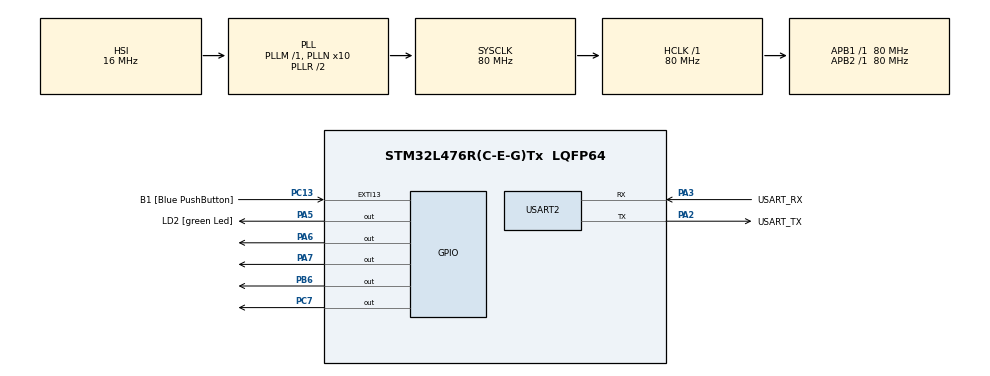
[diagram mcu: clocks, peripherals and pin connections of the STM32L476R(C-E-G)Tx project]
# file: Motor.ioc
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Mcu.Family=STM32L4
Mcu.Name=STM32L476R(C-E-G)Tx
Mcu.Package=LQFP64
NVIC.PriorityGroup=NVIC_PRIORITYGROUP_4
PA13\ (JTMS-SWDIO).GPIO_Label=TMS
PA13\ (JTMS-SWDIO).Mode=Serial_Wire
PA13\ (JTMS-SWDIO).Signal=SYS_JTMS-SWDIO
PA14\ (JTCK-SWCLK).GPIO_Label=TCK
PA14\ (JTCK-SWCLK).Mode=Serial_Wire
PA14\ (JTCK-SWCLK).Signal=SYS_JTCK-SWCLK
PA2.GPIO_Label=USART_TX
PA2.GPIO_Mode=GPIO_MODE_AF_PP
PA2.GPIO_PuPd=GPIO_NOPULL
PA2.GPIO_Speed=GPIO_SPEED_FREQ_VERY_HIGH
PA2.Mode=Asynchronous
PA2.Signal=USART2_TX
PA3.GPIO_Label=USART_RX
PA3.GPIO_Mode=GPIO_MODE_AF_PP
PA3.GPIO_PuPd=GPIO_NOPULL
PA3.GPIO_Speed=GPIO_SPEED_FREQ_VERY_HIGH
PA3.Mode=Asynchronous
PA3.Signal=USART2_RX
PA5.GPIO_Label=LD2 [green Led]
PA5.GPIO_ModeDefaultOutputPP=GPIO_MODE_OUTPUT_PP
PA5.GPIO_PuPd=GPIO_NOPULL
PA5.GPIO_Speed=GPIO_SPEED_FREQ_LOW
PA5.Signal=GPIO_Output
PA6.Signal=GPIO_Output
PA7.Signal=GPIO_Output
PB3\ (JTDO-TRACESWO).GPIO_Label=SWO
PB3\ (JTDO-TRACESWO).Signal=SYS_JTDO-SWO
PB6.Signal=GPIO_Output
PC13.GPIO_Label=B1 [Blue PushButton]
PC13.GPIO_ModeDefaultEXTI=GPIO_MODE_IT_FALLING
PC13.GPIO_PuPd=GPIO_NOPULL
PC13.Signal=GPXTI13
PC14-OSC32_IN\ (PC14).Mode=LSE-External-Oscillator
PC14-OSC32_IN\ (PC14).Signal=RCC_OSC32_IN
PC15-OSC32_OUT\ (PC15).Mode=LSE-External-Oscillator
PC15-OSC32_OUT\ (PC15).Signal=RCC_OSC32_OUT
PC7.Signal=GPIO_Output
PH0-OSC_IN\ (PH0).Signal=RCC_OSC_IN
PH1-OSC_OUT\ (PH1).Signal=RCC_OSC_OUT
ProjectManager.HeapSize=0x200
ProjectManager.StackSize=0x400
ProjectManager.TargetToolchain=STM32CubeIDE
RCC.ADCFreq_Value=64000000
RCC.AHBFreq_Value=80000000
RCC.APB1Freq_Value=80000000
RCC.APB1TimFreq_Value=80000000
RCC.APB2Freq_Value=80000000
RCC.APB2TimFreq_Value=80000000
RCC.CortexFreq_Value=80000000
RCC.HCLKFreq_Value=80000000
RCC.HSE_VALUE=8000000
RCC.HSI_VALUE=16000000
RCC.MSI_VALUE=4000000
RCC.PLLN=10
RCC.PLLSourceVirtual=RCC_PLLSOURCE_HSI
RCC.PREFETCH_ENABLE=1
RCC.SYSCLKFreq_VALUE=80000000
RCC.SYSCLKSource=RCC_SYSCLKSOURCE_PLLCLK
RCC.USBFreq_Value=64000000
RCC.VCOOutputFreq_Value=160000000
USART2.VirtualMode-Asynchronous=VM_ASYNC
board=NUCLEO-L476RG

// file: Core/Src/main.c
/* USER CODE BEGIN Header */
/**
  ******************************************************************************
  * @file           : main.c
  * @brief          : Main program body
  ******************************************************************************
  * @attention
  *
  * Copyright (c) 2023 STMicroelectronics.
  * All rights reserved.
  *
  * This software is licensed under terms that can be found in the LICENSE file
  * in the root directory of this software component.
  * If no LICENSE file comes with this software, it is provided AS-IS.
  *
  ******************************************************************************
  */
/* USER CODE END Header */
#include "main.h"

UART_HandleTypeDef huart2;

void SystemClock_Config(void);
static void MX_GPIO_Init(void);
static void MX_USART2_UART_Init(void);

/* USER CODE BEGIN PFP */
void motorMonofaseHorario (void);
void motorMonofaseAntihorario (void);

void motorBifasehHorario (void);
void motorBifaseAnithoriario (void);

void motorSemipasoHorario (void);
void motorSemipasoAntihorario (void);
/* USER CODE END PFP */

int main(void)
{

  /* MCU Configuration--------------------------------------------------------*/

  /* Reset of all peripherals, Initializes the Flash interface and the Systick. */
  HAL_Init();

  /* Configure the system clock */
  SystemClock_Config();

  /* Initialize all configured peripherals */
  MX_GPIO_Init();
  MX_USART2_UART_Init();

  /* Infinite loop */
  /* USER CODE BEGIN WHILE */
  while (1)
  {
    // Descomentar según el uso deseado
    motorMonofaseHorario ();
    // motorMonofaseAntihorario ();

    // motorBifasehHorario ();
    // motorBifaseAnithoriario ();

    // motorSemipasoHorario ();
    // motorSemipasoAntihorario ();

    /* USER CODE END WHILE */

  }
}

void SystemClock_Config(void)
{
  RCC_OscInitTypeDef RCC_OscInitStruct = {0};
  RCC_ClkInitTypeDef RCC_ClkInitStruct = {0};

  /** Configure the main internal regulator output voltage
  */
  if (HAL_PWREx_ControlVoltageScaling(PWR_REGULATOR_VOLTAGE_SCALE1) != HAL_OK)
  {
    Error_Handler();
  }

  /** Initializes the RCC Oscillators according to the specified parameters
  * in the RCC_OscInitTypeDef structure.
  */
  RCC_OscInitStruct.OscillatorType = RCC_OSCILLATORTYPE_HSI;
  RCC_OscInitStruct.HSIState = RCC_HSI_ON;
  RCC_OscInitStruct.HSICalibrationValue = RCC_HSICALIBRATION_DEFAULT;
  RCC_OscInitStruct.PLL.PLLState = RCC_PLL_ON;
  RCC_OscInitStruct.PLL.PLLSource = RCC_PLLSOURCE_HSI;
  RCC_OscInitStruct.PLL.PLLM = 1;
  RCC_OscInitStruct.PLL.PLLN = 10;
  RCC_OscInitStruct.PLL.PLLP = RCC_PLLP_DIV7;
  RCC_OscInitStruct.PLL.PLLQ = RCC_PLLQ_DIV2;
  RCC_OscInitStruct.PLL.PLLR = RCC_PLLR_DIV2;
  if (HAL_RCC_OscConfig(&RCC_OscInitStruct) != HAL_OK)
  {
    Error_Handler();
  }

  /** Initializes the CPU, AHB and APB buses clocks
  */
  RCC_ClkInitStruct.ClockType = RCC_CLOCKTYPE_HCLK|RCC_CLOCKTYPE_SYSCLK
                              |RCC_CLOCKTYPE_PCLK1|RCC_CLOCKTYPE_PCLK2;
  RCC_ClkInitStruct.SYSCLKSource = RCC_SYSCLKSOURCE_PLLCLK;
  RCC_ClkInitStruct.AHBCLKDivider = RCC_SYSCLK_DIV1;
  RCC_ClkInitStruct.APB1CLKDivider = RCC_HCLK_DIV1;
  RCC_ClkInitStruct.APB2CLKDivider = RCC_HCLK_DIV1;

  if (HAL_RCC_ClockConfig(&RCC_ClkInitStruct, FLASH_LATENCY_4) != HAL_OK)
  {
    Error_Handler();
  }
}

static void MX_USART2_UART_Init(void)
{

  huart2.Instance = USART2;
  huart2.Init.BaudRate = 115200;
  huart2.Init.WordLength = UART_WORDLENGTH_8B;
  huart2.Init.StopBits = UART_STOPBITS_1;
  huart2.Init.Parity = UART_PARITY_NONE;
  huart2.Init.Mode = UART_MODE_TX_RX;
  huart2.Init.HwFlowCtl = UART_HWCONTROL_NONE;
  huart2.Init.OverSampling = UART_OVERSAMPLING_16;
  huart2.Init.OneBitSampling = UART_ONE_BIT_SAMPLE_DISABLE;
  huart2.AdvancedInit.AdvFeatureInit = UART_ADVFEATURE_NO_INIT;
  if (HAL_UART_Init(&huart2) != HAL_OK)
  {
    Error_Handler();
  }

}

static void MX_GPIO_Init(void)
{
  GPIO_InitTypeDef GPIO_InitStruct = {0};

  /* GPIO Ports Clock Enable */
  __HAL_RCC_GPIOC_CLK_ENABLE();
  __HAL_RCC_GPIOH_CLK_ENABLE();
  __HAL_RCC_GPIOA_CLK_ENABLE();
  __HAL_RCC_GPIOB_CLK_ENABLE();

  /*Configure GPIO pin Output Level */
  HAL_GPIO_WritePin(GPIOA, LD2_Pin|GPIO_PIN_6|GPIO_PIN_7, GPIO_PIN_RESET);

  /*Configure GPIO pin Output Level */
  HAL_GPIO_WritePin(GPIOC, GPIO_PIN_7, GPIO_PIN_RESET);

  /*Configure GPIO pin Output Level */
  HAL_GPIO_WritePin(GPIOB, GPIO_PIN_6, GPIO_PIN_RESET);

  /*Configure GPIO pin : B1_Pin */
  GPIO_InitStruct.Pin = B1_Pin;
  GPIO_InitStruct.Mode = GPIO_MODE_IT_FALLING;
  GPIO_InitStruct.Pull = GPIO_NOPULL;
  HAL_GPIO_Init(B1_GPIO_Port, &GPIO_InitStruct);

  /*Configure GPIO pins : LD2_Pin PA6 PA7 */
  GPIO_InitStruct.Pin = LD2_Pin|GPIO_PIN_6|GPIO_PIN_7;
  GPIO_InitStruct.Mode = GPIO_MODE_OUTPUT_PP;
  GPIO_InitStruct.Pull = GPIO_NOPULL;
  GPIO_InitStruct.Speed = GPIO_SPEED_FREQ_LOW;
  HAL_GPIO_Init(GPIOA, &GPIO_InitStruct);

  /*Configure GPIO pin : PC7 */
  GPIO_InitStruct.Pin = GPIO_PIN_7;
  GPIO_InitStruct.Mode = GPIO_MODE_OUTPUT_PP;
  GPIO_InitStruct.Pull = GPIO_NOPULL;
  GPIO_InitStruct.Speed = GPIO_SPEED_FREQ_LOW;
  HAL_GPIO_Init(GPIOC, &GPIO_InitStruct);

  /*Configure GPIO pin : PB6 */
  GPIO_InitStruct.Pin = GPIO_PIN_6;
  GPIO_InitStruct.Mode = GPIO_MODE_OUTPUT_PP;
  GPIO_InitStruct.Pull = GPIO_NOPULL;
  GPIO_InitStruct.Speed = GPIO_SPEED_FREQ_LOW;
  HAL_GPIO_Init(GPIOB, &GPIO_InitStruct);

}

/* USER CODE BEGIN 4 */

/*******************************************
 *---- MOTOR MONOFÁSICO SENTIDO HORARIO ----
 *******************************************/

void motorMonofaseHorario ()
{
  // FASE 1 ON
  HAL_GPIO_WritePin (GPIOC, GPIO_PIN_7, GPIO_PIN_SET);

  HAL_Delay (1000);

  // Reseteamos FASE 1
  HAL_GPIO_WritePin (GPIOC, GPIO_PIN_7, GPIO_PIN_RESET);

  // FASE 2 ON
  HAL_GPIO_WritePin (GPIOB, GPIO_PIN_6, GPIO_PIN_SET);

  HAL_Delay (1000);

  // Reseteamos FASE 2
  HAL_GPIO_WritePin (GPIOB, GPIO_PIN_6, GPIO_PIN_RESET);

  // FASE 3 ON
  HAL_GPIO_WritePin (GPIOA, GPIO_PIN_7, GPIO_PIN_SET);

  HAL_Delay (1000);

  // Reseteamos FASE 3
  HAL_GPIO_WritePin (GPIOA, GPIO_PIN_7, GPIO_PIN_RESET);

  // FASE 4 ON
  HAL_GPIO_WritePin (GPIOA, GPIO_PIN_6, GPIO_PIN_SET);

  HAL_Delay (1000);

  // Reseteamos FASE 4
  HAL_GPIO_WritePin (GPIOA, GPIO_PIN_6, GPIO_PIN_RESET);
}

/***********************************************
 *---- MOTOR MONOFÁSICO SENTIDO ANTIHORARIO ----
 ***********************************************/

void motorMonofaseAntihorario ()
{
  // FASE 4 ON
  HAL_GPIO_WritePin (GPIOA, GPIO_PIN_6, GPIO_PIN_SET);

  HAL_Delay (1000);

  // Reseteamos FASE 4
  HAL_GPIO_WritePin (GPIOA, GPIO_PIN_6, GPIO_PIN_RESET);

  // FASE 3 ON
  HAL_GPIO_WritePin (GPIOA, GPIO_PIN_7, GPIO_PIN_SET);

  HAL_Delay (1000);

  // Reseteamos FASE 3
  HAL_GPIO_WritePin (GPIOA, GPIO_PIN_7, GPIO_PIN_RESET);

  // FASE 2 ON
  HAL_GPIO_WritePin (GPIOB, GPIO_PIN_6, GPIO_PIN_SET);

  HAL_Delay (1000);

  // Reseteamos FASE 2
  HAL_GPIO_WritePin (GPIOB, GPIO_PIN_6, GPIO_PIN_RESET);

  // FASE 1 ON
  HAL_GPIO_WritePin (GPIOC, GPIO_PIN_7, GPIO_PIN_SET);

  HAL_Delay (1000);

  // Reseteamos FASE 1
  HAL_GPIO_WritePin (GPIOC, GPIO_PIN_7, GPIO_PIN_RESET);
}

/*****************************************
 *---- MOTOR BIFÁSICO SENTIDO HORARIO ----
 *****************************************/

void motorBifasehHorario ()
{
  // FASE 1 ON / FASE 2 ON
  HAL_GPIO_WritePin (GPIOC, GPIO_PIN_7, GPIO_PIN_SET);
  HAL_GPIO_WritePin (GPIOB, GPIO_PIN_6, GPIO_PIN_SET);

  HAL_Delay (1000);

  // Reseteamos FASE 1
  HAL_GPIO_WritePin (GPIOC, GPIO_PIN_7, GPIO_PIN_RESET);

  // FASE 2 ON / FASE 3 ON
 	HAL_GPIO_WritePin (GPIOA, GPIO_PIN_7, GPIO_PIN_SET);

  HAL_Delay (1000);

  // Reseteamos FASE 2
  HAL_GPIO_WritePin (GPIOB, GPIO_PIN_6, GPIO_PIN_RESET);

  // FASE 3 ON / FASE 4 ON
  HAL_GPIO_WritePin (GPIOA, GPIO_PIN_6, GPIO_PIN_SET);

  HAL_Delay (1000);

  // Reseteamos FASE 3
  HAL_GPIO_WritePin (GPIOA, GPIO_PIN_7, GPIO_PIN_RESET);

  // FASE 4 ON / FASE 1 ON
  HAL_GPIO_WritePin (GPIOC, GPIO_PIN_7, GPIO_PIN_SET);

  HAL_Delay (1000);

  // Reseteamos FASE 4
  HAL_GPIO_WritePin (GPIOA, GPIO_PIN_6, GPIO_PIN_RESET);
}

/*********************************************
 *---- MOTOR BIFÁSICO SENTIDO ANTIHORARIO ----
 *********************************************/

void motorBifaseAnithoriario ()
{
  // FASE 4 ON / FASE 3 ON
  HAL_GPIO_WritePin (GPIOA, GPIO_PIN_6, GPIO_PIN_SET);
  HAL_GPIO_WritePin (GPIOA, GPIO_PIN_7, GPIO_PIN_SET);

  HAL_Delay (1000);

  // Reseteamos FASE 4
  HAL_GPIO_WritePin (GPIOA, GPIO_PIN_6, GPIO_PIN_RESET);

  // FASE 3 ON / FASE 2 ON
  HAL_GPIO_WritePin (GPIOB, GPIO_PIN_6, GPIO_PIN_SET);

  HAL_Delay (1000);

  // Reseteamos FASE 3
  HAL_GPIO_WritePin (GPIOA, GPIO_PIN_7, GPIO_PIN_RESET);

  // FASE 2 ON / FASE 1 ON
  HAL_GPIO_WritePin (GPIOC, GPIO_PIN_7, GPIO_PIN_SET);

  HAL_Delay (1000);

  // Reseteamos FASE 2
  HAL_GPIO_WritePin (GPIOB, GPIO_PIN_6, GPIO_PIN_RESET);

  // FASE 1 ON / FASE 4 ON
  HAL_GPIO_WritePin (GPIOA, GPIO_PIN_6, GPIO_PIN_SET);

  HAL_Delay (1000);

  // Reseteamos FASE 1
  HAL_GPIO_WritePin (GPIOC, GPIO_PIN_7, GPIO_PIN_RESET);
}

/*****************************************
 *---- MOTOR SEMIPASO SENTIDO HORARIO ----
 *****************************************/

void motorSemipasoHorario ()
{
  // FASE 1 ON / FASE 2 ON
  HAL_GPIO_WritePin (GPIOC, GPIO_PIN_7, GPIO_PIN_SET);
  HAL_GPIO_WritePin (GPIOB, GPIO_PIN_6, GPIO_PIN_SET);

  HAL_Delay (1000);

  // Reseteamos FASE 1
  HAL_GPIO_WritePin (GPIOC, GPIO_PIN_7, GPIO_PIN_RESET);

  // Dejamos sólo FASE 2 ON
  HAL_Delay (1000);

  // FASE 2 ON / FASE 3 ON
  HAL_GPIO_WritePin (GPIOA, GPIO_PIN_7, GPIO_PIN_SET);

  HAL_Delay (1000);

  // Reseteamos FASE 2
  HAL_GPIO_WritePin (GPIOB, GPIO_PIN_6, GPIO_PIN_RESET);

  // Dejamos sólo FASE 3 ON
  HAL_Delay (1000);

  // FASE 3 ON / FASE 4 ON
  HAL_GPIO_WritePin (GPIOA, GPIO_PIN_6, GPIO_PIN_SET);

  HAL_Delay (1000);

  // Reseteamos FASE 3
  HAL_GPIO_WritePin (GPIOA, GPIO_PIN_7, GPIO_PIN_RESET);

  // Dejamos sólo FASE 4 ON
  HAL_Delay (1000);

  // FASE 4 ON / FASE 1 ON
  HAL_GPIO_WritePin (GPIOC, GPIO_PIN_7, GPIO_PIN_SET);

  HAL_Delay (1000);

  // Reseteamos FASE 4
  HAL_GPIO_WritePin (GPIOA, GPIO_PIN_6, GPIO_PIN_RESET);

  // Dejamos sólo FASE 1 ON
  HAL_Delay (1000);
}

/*********************************************
 *---- MOTOR SEMIPASO SENTIDO ANTIHORARIO ----
 *********************************************/

void motorSemipasoAntihorario ()
{
  // FASE 4 ON / FASE 3 ON
  HAL_GPIO_WritePin (GPIOA, GPIO_PIN_6, GPIO_PIN_SET);
  HAL_GPIO_WritePin (GPIOA, GPIO_PIN_7, GPIO_PIN_SET);

  HAL_Delay (1000);

  // Reseteamos FASE 4
  HAL_GPIO_WritePin (GPIOA, GPIO_PIN_6, GPIO_PIN_RESET);

  // Dejamos sólo FASE 3 ON
  HAL_Delay (1000);

  // FASE 3 ON / FASE 2 ON
  HAL_GPIO_WritePin (GPIOB, GPIO_PIN_6, GPIO_PIN_SET);

  HAL_Delay (1000);

  // Reseteamos FASE 3
  HAL_GPIO_WritePin (GPIOA, GPIO_PIN_7, GPIO_PIN_RESET);

  // Dejamos sólo FASE 2 ON
  HAL_Delay (1000);

  // FASE 2 ON / FASE 1 ON
  HAL_GPIO_WritePin (GPIOC, GPIO_PIN_7, GPIO_PIN_SET);

  HAL_Delay (1000);

  // Reseteamos FASE 2
  HAL_GPIO_WritePin (GPIOB, GPIO_PIN_6, GPIO_PIN_RESET);

  // Dejamos sólo FASE 1
  HAL_Delay (1000);

  // FASE 1 ON / FASE 4 ON
  HAL_GPIO_WritePin (GPIOA, GPIO_PIN_6, GPIO_PIN_SET);

  HAL_Delay (1000);

  // Reseteamos FASE 1
  HAL_GPIO_WritePin (GPIOC, GPIO_PIN_7, GPIO_PIN_RESET);

  // Dejamos sólo FASE 4
  HAL_Delay (1000);
}
/* USER CODE END 4 */

void Error_Handler(void)
{
  __disable_irq();
  while (1)
  {
  }
}
